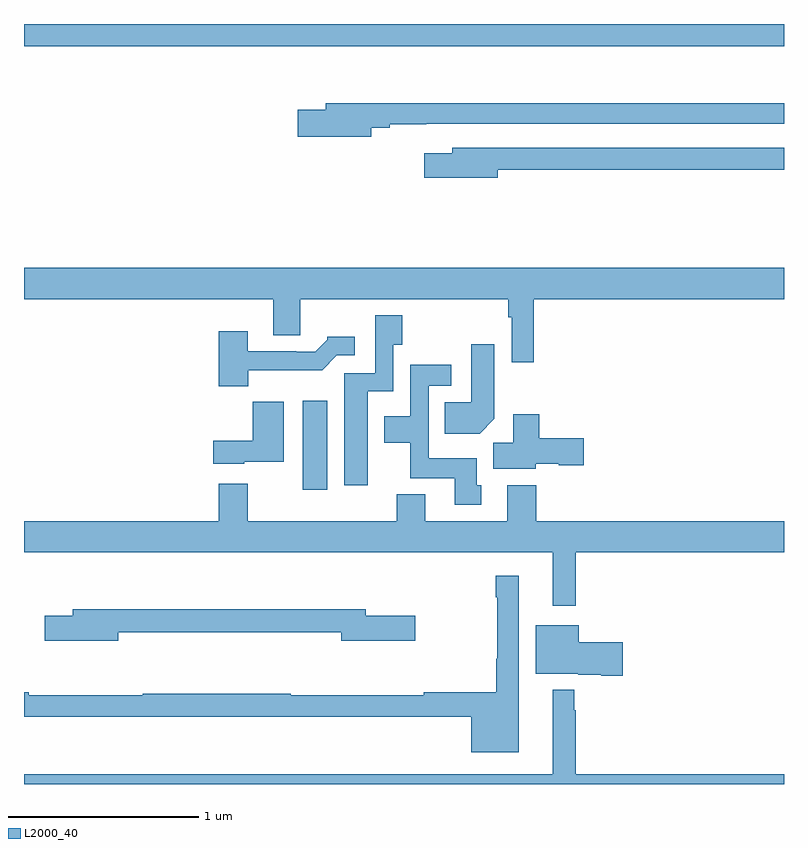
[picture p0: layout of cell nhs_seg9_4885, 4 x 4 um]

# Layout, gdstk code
import gdstk
lib = gdstk.Library(unit=1e-6, precision=1e-09)
def R(c, l, rs):  # rectangles x0, y0, x1, y1
    for r in rs: c.add(gdstk.rectangle(r[:2], r[2:], *l))
def P(c, l, *ps):  # polygons
    for p in ps: c.add(gdstk.Polygon(p, *l))
L2000_40 = (2000, 40)

nhs_seg9_4885 = lib.new_cell('nhs_seg9_4885')
R(nhs_seg9_4885, L2000_40, [(394.466,1230.048,394.597,1230.517), (393,1232.384,397,1232.5)])
P(nhs_seg9_4885, L2000_40, [(394.828,1231.954),(394.924,1231.954),(394.924,1231.973),(395.118,1231.973),(395.118,1231.974),(397,1231.974),(397,1232.083),(394.589,1232.083),(394.589,1232.049),(394.44,1232.049),(394.44,1231.907),(394.828,1231.907)],
  [(395.494,1231.732),(397,1231.732),(397,1231.848),(395.255,1231.848),(395.255,1231.819),(395.106,1231.819),(395.106,1231.69),(395.494,1231.69)],
  [(395.684,1231.052),(397,1231.052),(397,1231.216),(393,1231.216),(393,1231.052),(394.313,1231.052),(394.313,1230.862),(394.453,1230.862),(394.453,1231.052),(395.548,1231.052),(395.548,1230.956),(395.568,1230.956),(395.568,1230.72),(395.684,1230.72)],
  [(394.81,1230.566),(394.944,1230.566),(394.944,1230.811),(394.992,1230.811),(394.992,1230.967),(394.848,1230.967),(394.848,1230.663),(394.685,1230.663),(394.685,1230.072),(394.81,1230.072)],
  [(394.18,1230.678),(394.569,1230.678),(394.647,1230.756),(394.741,1230.756),(394.741,1230.853),(394.596,1230.853),(394.596,1230.838),(394.532,1230.774),(394.433,1230.774),(394.433,1230.777),(394.177,1230.777),(394.177,1230.883),(394.025,1230.883),(394.025,1230.593),(394.18,1230.593)],
  [(395.476,1230.422),(395.476,1230.814),(395.354,1230.814),(395.354,1230.508),(395.215,1230.508),(395.215,1230.344),(395.398,1230.344)],
  [(395.407,1230.072),(395.383,1230.072),(395.383,1230.214),(395.13,1230.214),(395.13,1230.597),(395.248,1230.597),(395.248,1230.706),(395.034,1230.706),(395.034,1230.436),(394.895,1230.436),(394.895,1230.296),(395.032,1230.296),(395.032,1230.11),(395.267,1230.11),(395.267,1229.97),(395.407,1229.97)],
  [(394.158,1230.197),(394.366,1230.197),(394.366,1230.511),(394.204,1230.511),(394.204,1230.307),(393.996,1230.307),(393.996,1230.185),(394.158,1230.185)],
  [(395.694,1230.185),(395.814,1230.185),(395.814,1230.178),(395.947,1230.178),(395.947,1230.32),(395.711,1230.32),(395.711,1230.445),(395.576,1230.445),(395.576,1230.296),(395.471,1230.296),(395.471,1230.158),(395.694,1230.158)],
  [(395.905,1229.72),(397,1229.72),(397,1229.884),(395.696,1229.884),(395.696,1230.073),(395.543,1230.073),(395.543,1229.884),(395.113,1229.884),(395.113,1230.025),(394.961,1230.025),(394.961,1229.884),(394.177,1229.884),(394.177,1230.079),(394.025,1230.079),(394.025,1229.884),(393,1229.884),(393,1229.72),(395.783,1229.72),(395.783,1229.439),(395.905,1229.439)],
  [(395.605,1229.596),(395.484,1229.596),(395.484,1229.483),(395.491,1229.483),(395.491,1229.159),(395.486,1229.159),(395.486,1228.982),(395.105,1228.982),(395.105,1228.967),(394.405,1228.967),(394.405,1228.975),(393.626,1228.975),(393.626,1228.967),(393.026,1228.967),(393.026,1228.982),(393,1228.982),(393,1228.854),(395.354,1228.854),(395.354,1228.667),(395.605,1228.667)],
  [(393.496,1229.298),(394.67,1229.298),(394.67,1229.255),(395.059,1229.255),(395.059,1229.385),(394.798,1229.385),(394.798,1229.419),(393.257,1229.419),(393.257,1229.385),(393.108,1229.385),(393.108,1229.255),(393.496,1229.255)],
  [(396.151,1229.247),(395.92,1229.247),(395.92,1229.335),(395.693,1229.335),(395.693,1229.081),(395.916,1229.081),(395.916,1229.075),(396.038,1229.075),(396.038,1229.069),(396.151,1229.069)],
  [(397,1228.552),(395.905,1228.552),(395.905,1228.889),(395.897,1228.889),(395.897,1228.996),(395.783,1228.996),(395.783,1228.552),(393,1228.552),(393,1228.5),(397,1228.5)])

lib.write_gds('nhs_seg9_4885.gds')
